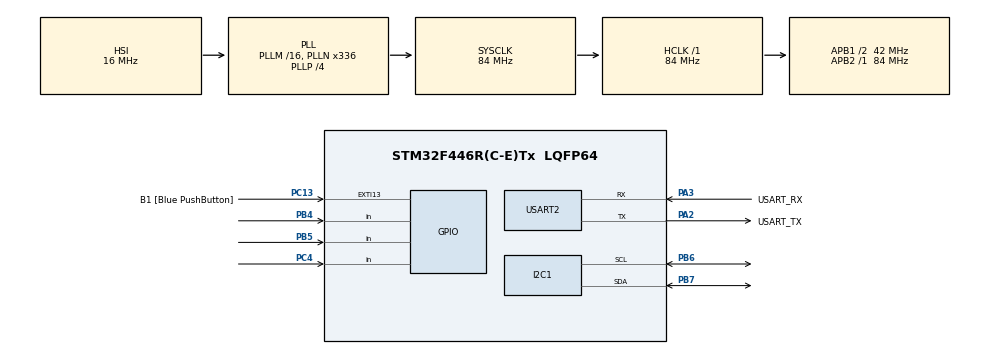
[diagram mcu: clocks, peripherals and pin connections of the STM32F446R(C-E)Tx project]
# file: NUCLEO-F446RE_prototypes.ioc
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I2C1.I2C_Mode=I2C_Fast
Mcu.Family=STM32F4
Mcu.Name=STM32F446R(C-E)Tx
Mcu.Package=LQFP64
NVIC.PriorityGroup=NVIC_PRIORITYGROUP_0
PA13.GPIO_Label=TMS
PA13.Mode=Serial_Wire
PA13.Signal=SYS_JTMS-SWDIO
PA14.GPIO_Label=TCK
PA14.Mode=Serial_Wire
PA14.Signal=SYS_JTCK-SWCLK
PA2.GPIO_Label=USART_TX
PA2.Mode=Asynchronous
PA2.Signal=USART2_TX
PA3.GPIO_Label=USART_RX
PA3.Mode=Asynchronous
PA3.Signal=USART2_RX
PB3.GPIO_Label=SWO
PB3.Signal=SYS_JTDO-SWO
PB4.Signal=GPIO_Input
PB5.Signal=GPIO_Input
PB6.GPIO_Pu=GPIO_PULLUP
PB6.Mode=I2C
PB6.Signal=I2C1_SCL
PB7.GPIO_Pu=GPIO_PULLUP
PB7.Mode=I2C
PB7.Signal=I2C1_SDA
PC13.GPIO_Label=B1 [Blue PushButton]
PC13.GPIO_ModeDefaultEXTI=GPIO_MODE_IT_FALLING
PC13.Signal=GPXTI13
PC14-OSC32_IN.Mode=LSE-External-Oscillator
PC14-OSC32_IN.Signal=RCC_OSC32_IN
PC15-OSC32_OUT.Mode=LSE-External-Oscillator
PC15-OSC32_OUT.Signal=RCC_OSC32_OUT
PC4.Signal=GPIO_Input
PH0-OSC_IN.Mode=HSE-External-Oscillator
PH0-OSC_IN.Signal=RCC_OSC_IN
PH1-OSC_OUT.Mode=HSE-External-Oscillator
PH1-OSC_OUT.Signal=RCC_OSC_OUT
ProjectManager.HeapSize=0x200
ProjectManager.StackSize=0x400
ProjectManager.TargetToolchain=STM32CubeIDE
RCC.48MHZClocksFreq_Value=84000000
RCC.AHBFreq_Value=84000000
RCC.APB1CLKDivider=RCC_HCLK_DIV2
RCC.APB1Freq_Value=42000000
RCC.APB1TimFreq_Value=84000000
RCC.APB2Freq_Value=84000000
RCC.APB2TimFreq_Value=84000000
RCC.CortexFreq_Value=84000000
RCC.FLatency-AdvancedSettings=FLASH_LATENCY_2
RCC.HCLKFreq_Value=84000000
RCC.HSE_VALUE=8000000
RCC.HSI_VALUE=16000000
RCC.PLLN=336
RCC.PLLP=RCC_PLLP_DIV4
RCC.SYSCLKFreq_VALUE=84000000
RCC.SYSCLKSource=RCC_SYSCLKSOURCE_PLLCLK
RCC.USBFreq_Value=168000000
RCC.VCOOutputFreq_Value=336000000
USART2.VirtualMode=VM_ASYNC
board=NUCLEO-F446RE

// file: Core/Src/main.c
/* USER CODE BEGIN Header */
/**
  ******************************************************************************
  * @file           : main.c
  * @brief          : Main program body
  ******************************************************************************
  * @attention
  *
  * Copyright (c) 2024 STMicroelectronics.
  * All rights reserved.
  *
  * This software is licensed under terms that can be found in the LICENSE file
  * in the root directory of this software component.
  * If no LICENSE file comes with this software, it is provided AS-IS.
  *
  ******************************************************************************
  */
/* USER CODE END Header */
#include "main.h"
#include "i2c.h"
#include "usart.h"
#include "gpio.h"

/* USER CODE BEGIN Includes */
#include "ADXL345.h"
#include "error_codes.h"
#include "trig.h"
/* USER CODE END Includes */

/* USER CODE BEGIN PD */
#define ADXL345_ALT_ADR 0xA6 // val shifted left
#define PWR_CTR_REG 0x2D
/* USER CODE END PD */

void SystemClock_Config(void);

/* USER CODE BEGIN 0 */
uint8_t i2c_tx_buff[2];
uint8_t rx_buff[6];
int16_t i2c_rx_buff[3];
float angles[3];
int16_t x, y, z;
/* USER CODE END 0 */

int main(void)
{

  /* MCU Configuration--------------------------------------------------------*/

  /* Reset of all peripherals, Initializes the Flash interface and the Systick. */
  HAL_Init();

  /* Configure the system clock */
  SystemClock_Config();

  /* Initialize all configured peripherals */
  MX_GPIO_Init();
  MX_USART2_UART_Init();
  MX_I2C1_Init();
  /* USER CODE BEGIN 2 */

  // Change ADXL345 operation mode into measurement
  Acc_AddController(&hi2c1, GPIOC, GPIO_PIN_4, 0x00);
  Acc_Config(0x00);

  /* USER CODE END 2 */

  /* Infinite loop */
  /* USER CODE BEGIN WHILE */
  while (1)
  {
	  // Manual measurement
	  HAL_I2C_Mem_Read(&hi2c1, ADXL345_ALT_ADR, 0x38, 1, rx_buff, 2, 200);

	  // Avg measurment
	  Acc_AvgMeasurment(i2c_rx_buff, 32, 0x00);
	  //ReturnCode ret = AccSelfTest(i2c_rx_buff);
	  GetTiltAngles(angles, i2c_rx_buff);

	  HAL_Delay(1000);

    /* USER CODE END WHILE */

  }
}

void SystemClock_Config(void)
{
  RCC_OscInitTypeDef RCC_OscInitStruct = {0};
  RCC_ClkInitTypeDef RCC_ClkInitStruct = {0};

  /** Configure the main internal regulator output voltage
  */
  __HAL_RCC_PWR_CLK_ENABLE();
  __HAL_PWR_VOLTAGESCALING_CONFIG(PWR_REGULATOR_VOLTAGE_SCALE3);

  /** Initializes the RCC Oscillators according to the specified parameters
  * in the RCC_OscInitTypeDef structure.
  */
  RCC_OscInitStruct.OscillatorType = RCC_OSCILLATORTYPE_HSI;
  RCC_OscInitStruct.HSIState = RCC_HSI_ON;
  RCC_OscInitStruct.HSICalibrationValue = RCC_HSICALIBRATION_DEFAULT;
  RCC_OscInitStruct.PLL.PLLState = RCC_PLL_ON;
  RCC_OscInitStruct.PLL.PLLSource = RCC_PLLSOURCE_HSI;
  RCC_OscInitStruct.PLL.PLLM = 16;
  RCC_OscInitStruct.PLL.PLLN = 336;
  RCC_OscInitStruct.PLL.PLLP = RCC_PLLP_DIV4;
  RCC_OscInitStruct.PLL.PLLQ = 2;
  RCC_OscInitStruct.PLL.PLLR = 2;
  if (HAL_RCC_OscConfig(&RCC_OscInitStruct) != HAL_OK)
  {
    Error_Handler();
  }

  /** Initializes the CPU, AHB and APB buses clocks
  */
  RCC_ClkInitStruct.ClockType = RCC_CLOCKTYPE_HCLK|RCC_CLOCKTYPE_SYSCLK
                              |RCC_CLOCKTYPE_PCLK1|RCC_CLOCKTYPE_PCLK2;
  RCC_ClkInitStruct.SYSCLKSource = RCC_SYSCLKSOURCE_PLLCLK;
  RCC_ClkInitStruct.AHBCLKDivider = RCC_SYSCLK_DIV1;
  RCC_ClkInitStruct.APB1CLKDivider = RCC_HCLK_DIV2;
  RCC_ClkInitStruct.APB2CLKDivider = RCC_HCLK_DIV1;

  if (HAL_RCC_ClockConfig(&RCC_ClkInitStruct, FLASH_LATENCY_2) != HAL_OK)
  {
    Error_Handler();
  }
}

void Error_Handler(void)
{
  __disable_irq();
  while (1)
  {
  }
}
